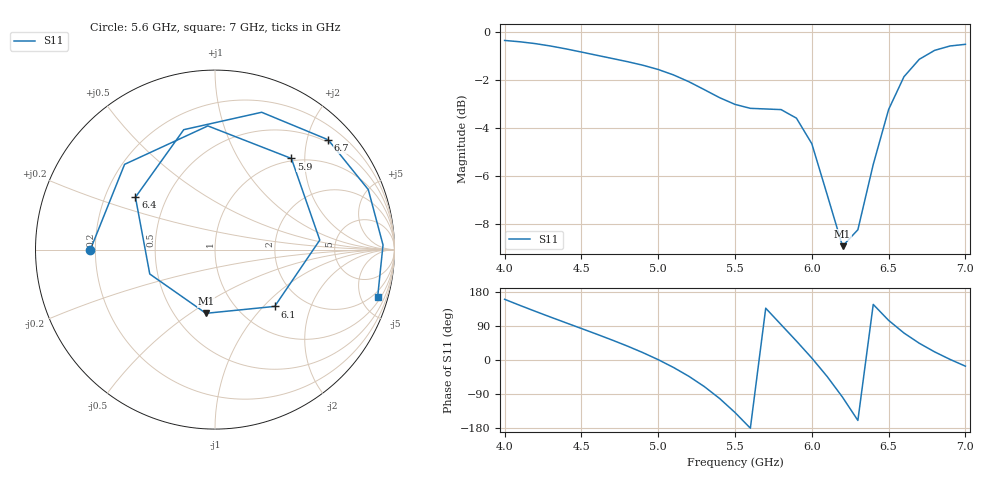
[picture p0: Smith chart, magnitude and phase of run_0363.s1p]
! Touchstone file exported from HFSS 2024.2.0
!  File:  C:/Users/wsak9/Desktop/Sim Fast/Widenad Patch/WP_AI_V1_sweep.aedt
!  Generated:  06:26:44 AM Oct 14, 2026
!  Design:  A1_model
!  Project:  WP_AI_V1_sweep
!  Setup:  Setup1
!  Solution:  Sweep
! Variables:
!  Air_gap = 4.5mm
!  Curve_Amp1 = 2.23
!  Curve_len1 = 1
!  Curve_pos = 10.065mm
!  Extra = 2.12mm
!  H_sub = 0.79mm
!  L_Patch = 16.13mm
!  L_Patch1 = 18.55mm
!  Sx = 2.81mm
!  Sy = 3.34mm
!  WS = 1.12mm
!  W_Patch = 15.77mm
!  W_Patch1 = 16.43mm
!Data is not renormalized
# GHz S MA
! Terminal data exported
! Port[1] = 1
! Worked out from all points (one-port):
!   31 points, 4 GHz to 7 GHz, reference per port
!   lowest |S11| = -8.9 dB at 6.2 GHz (marker M1), VSWR 2.12
!   |S11| at or under -10 dB: nowhere
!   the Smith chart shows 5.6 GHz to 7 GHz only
!   S11 on the Smith chart (normalised r, x): 5.6 GHz: 0.18, -0.00; 5.9 GHz: 0.95, +1.73; 6.1 GHz: 1.45, -1.16; 6.4 GHz: 0.33, +0.27; 6.7 GHz: 0.45, +2.40; 7 GHz: 1.38, -6.71
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4  0.9616 160.2
4.2  0.9471 128.4
4.3  0.9362 113.1
4.4  0.9234 98.1
4.6  0.8957 68.1
4.8  0.8686 36.6
4.9  0.8539 19.5
5  0.8366 0.9
5.1  0.815 -19.8
5.2  0.7889 -43.1
5.3  0.7596 -70.1
5.4  0.7308 -101.7
5.5  0.7077 -138.6
5.6  0.6945 -179.9
5.7  0.6923 136.7
5.8  0.6903 93.3
5.9  0.6625 50.0
6  0.5862 5.2
6.1  0.4591 -43.6
6.2  0.3586 -98.1
6.3  0.388 -159.5
6.4  0.5307 146.6
6.5  0.6904 104.6
6.6  0.8081 71.2
6.7  0.8787 44.1
6.8  0.9171 21.4
6.9  0.9364 1.6
7  0.9439 -16.3
